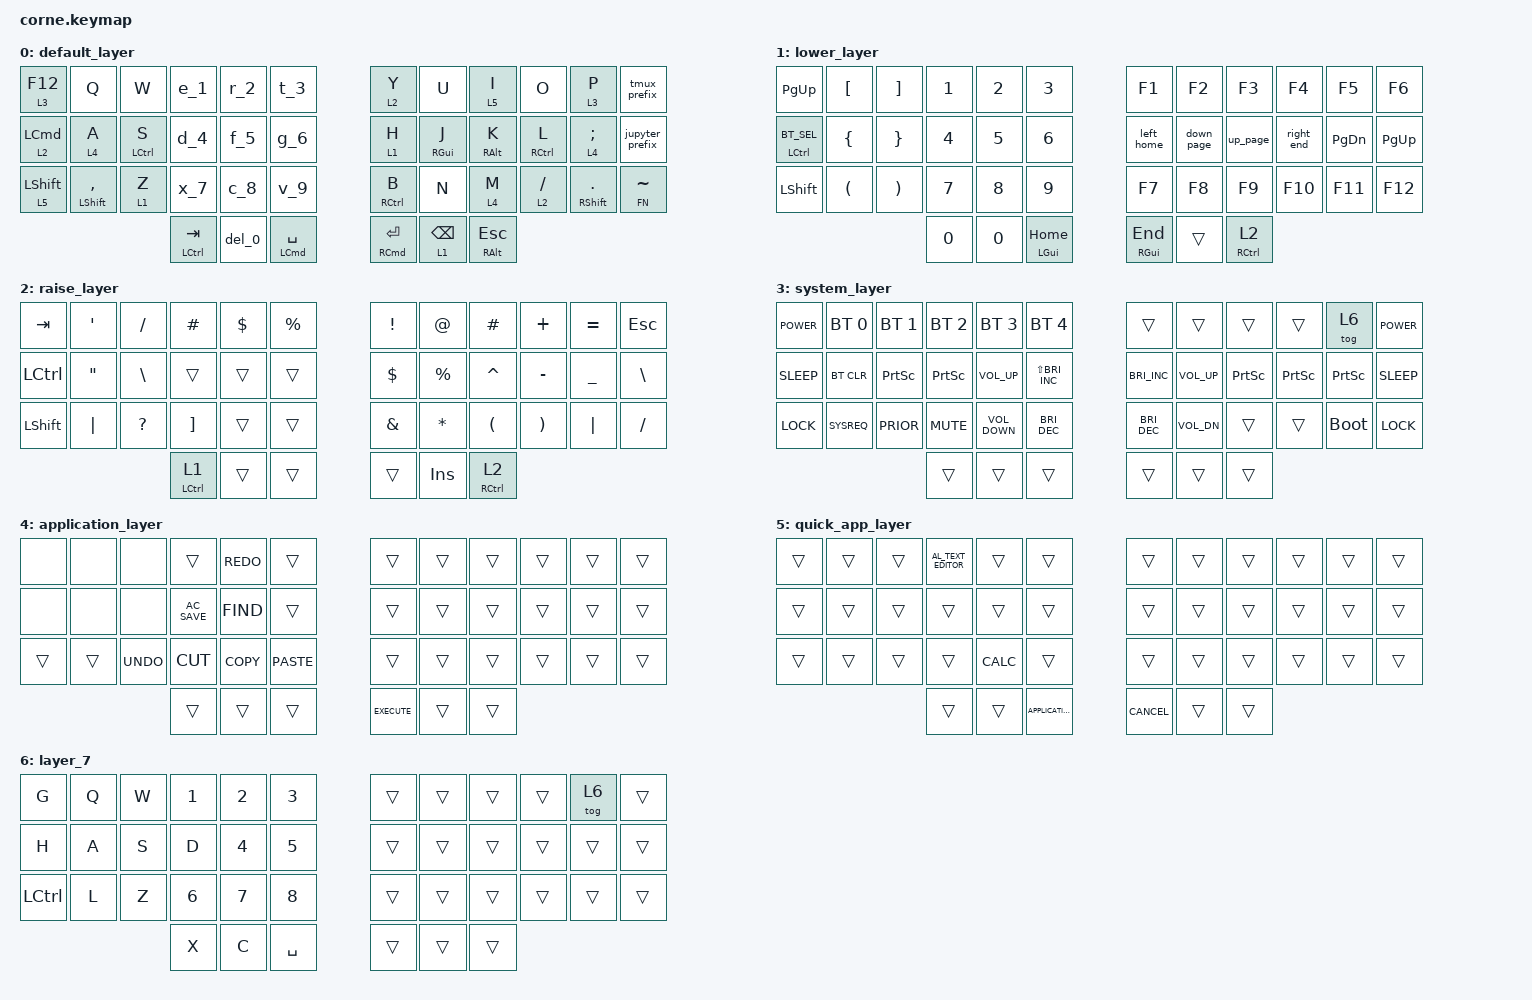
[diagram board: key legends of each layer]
/*
 * Copyright (c) 2020 The ZMK Contributors
 *
 * SPDX-License-Identifier: MIT
 */

#include <behaviors.dtsi>
#include <dt-bindings/zmk/bt.h>
#include <dt-bindings/zmk/keys.h>


// #define K_FN (ZMK_HID_USAGE(HID_USAGE_GD, 151))
#define K_FN (ZMK_HID_USAGE_ID(0x53))
/ {
    behaviors {
        new_behavior: new_behavior {
            compatible = "zmk,behavior-hold-tap";
            label = "NEW_BEHAVIOR";
            bindings = <&kp>, <&to>;

            #binding-cells = <2>;
            tapping-term-ms = <500>;
            quick-tap-ms = <400>;
        };

        hm: homerow_mods {
            compatible = "zmk,behavior-hold-tap";
            label = "HOMEROW_MODS";
            #binding-cells = <2>;
            tapping-term-ms = <200>;
            quick-tap-ms = <300>;
            flavor = "tap-preferred";
            bindings = <&kp>, <&kp>;
        };

        hl: homerow_layers {
            compatible = "zmk,behavior-hold-tap";
            label = "HOMEROW_LAYERS";
            #binding-cells = <2>;
            tapping-term-ms = <200>;
            quick-tap-ms = <300>;
            flavor = "tap-preferred";
            bindings = <&mo>, <&kp>;
        };

        hlt: homerow_layer_key_toggle {
            compatible = "zmk,behavior-hold-tap";
            label = "HOMEROW_LAYER_KTOGGLE";
            #binding-cells = <2>;
            tapping-term-ms = <200>;
            quick-tap-ms = <300>;
            flavor = "tap-preferred";
            bindings = <&mo>, <&kt>;
        };
        tog_mod: tog_mod {
            compatible = "zmk,behavior-hold-tap";
            label = "TOG_MOD";
            bindings = <&kp>, <&tog>;

            #binding-cells = <2>;
            tapping-term-ms = <200>;
            quick-tap-ms = <300>;
        };

        mod_bluetooth: mod_bluetooth {
            compatible = "zmk,behavior-hold-tap";
            label = "MOD_BLUETOOTH";
            bindings = <&kp>, <&bt>;

            #binding-cells = <2>;
            tapping-term-ms = <400>;
            quick-tap-ms = <200>;
        };

        grave_tab: grave_tab {
            compatible = "zmk,behavior-mod-morph";
            label = "GRAVE_TAB";
            bindings = <&kp GRAVE>, <&kp LG(TAB)>;

            #binding-cells = <0>;
            mods = <(MOD_LGUI)>;
        };

        backslash_escape: backslash_escape {
            compatible = "zmk,behavior-mod-morph";
            label = "BACKSLASH_ESCAPE";
            bindings = <&kp BACKSLASH>, <&kp RG(ESCAPE)>;

            #binding-cells = <0>;
            mods = <(MOD_RGUI|MOD_LGUI)>;
        };

        up_page: up_page {
            compatible = "zmk,behavior-mod-morph";
            label = "UP_PAGE";
            bindings = <&kp UP>, <&kp PAGE_UP>;

            #binding-cells = <0>;
            mods = <(MOD_LSFT)>;
            keep-mods = <0>;
        };

        down_page: down_page {
            compatible = "zmk,behavior-mod-morph";
            label = "DOWN_PAGE";
            bindings = <&kp DOWN>, <&kp PAGE_DOWN>;

            #binding-cells = <0>;
            mods = <(MOD_LSFT)>;
        };

        left_home: left_home {
            compatible = "zmk,behavior-mod-morph";
            label = "LEFT_HOME";
            bindings = <&kp LEFT>, <&kp HOME>;

            #binding-cells = <0>;
            mods = <(MOD_LSFT)>;
        };

        right_end: right_end {
            compatible = "zmk,behavior-mod-morph";
            label = "RIGHT_END";
            bindings = <&kp RIGHT>, <&kp END>;

            #binding-cells = <0>;
            mods = <(MOD_LSFT)>;
        };

        e_1: e_1 {
            compatible = "zmk,behavior-mod-morph";
            label = "E_1";
            bindings = <&hl 5 E>, <&kp NUMBER_1>;

            #binding-cells = <0>;
            keep-mods = <(MOD_LGUI)>;
            mods = <(MOD_LGUI)>;
        };

        r_2: r_2 {
            compatible = "zmk,behavior-mod-morph";
            label = "R_2";
            bindings = <&hm LSHFT R>, <&kp NUMBER_2>;

            #binding-cells = <0>;
            mods = <(MOD_LGUI)>;
            keep-mods = <(MOD_LGUI)>;
        };

        t_3: t_3 {
            compatible = "zmk,behavior-mod-morph";
            label = "T_3";
            bindings = <&hl 1 T>, <&kp NUMBER_3>;

            #binding-cells = <0>;
            mods = <(MOD_LGUI)>;
            keep-mods = <(MOD_LGUI)>;
        };

        d_4: d_4 {
            compatible = "zmk,behavior-mod-morph";
            label = "D_4";
            bindings = <&hm LALT D>, <&kp NUMBER_4>;

            #binding-cells = <0>;
            mods = <(MOD_LGUI)>;
            keep-mods = <(MOD_LGUI)>;
        };

        f_5: f_5 {
            compatible = "zmk,behavior-mod-morph";
            label = "F_5";
            bindings = <&hm LEFT_GUI F>, <&kp N5>;

            #binding-cells = <0>;
            mods = <(MOD_LGUI)>;
            keep-mods = <(MOD_LGUI)>;
        };

        g_6: g_6 {
            compatible = "zmk,behavior-mod-morph";
            label = "G_6";
            bindings = <&hl 2 G>, <&kp NUMBER_6>;

            #binding-cells = <0>;
            mods = <(MOD_LGUI)>;
            keep-mods = <(MOD_LGUI)>;
        };

        x_7: x_7 {
            compatible = "zmk,behavior-mod-morph";
            label = "X_7";
            bindings = <&kp X>, <&kp N7>;

            #binding-cells = <0>;
            mods = <(MOD_LGUI)>;
            keep-mods = <(MOD_LGUI)>;
        };

        c_8: c_8 {
            compatible = "zmk,behavior-mod-morph";
            label = "C_8";
            bindings = <&hl 4 C>, <&kp N8>;

            #binding-cells = <0>;
            mods = <(MOD_LGUI)>;
            keep-mods = <(MOD_LGUI)>;
        };

        v_9: v_9 {
            compatible = "zmk,behavior-mod-morph";
            label = "V_9";
            bindings = <&hm RALT V>, <&kp N9>;

            #binding-cells = <0>;
            mods = <(MOD_LGUI)>;
            keep-mods = <(MOD_LGUI)>;
        };

        del_0: del_0 {
            compatible = "zmk,behavior-mod-morph";
            label = "DEL_0";
            bindings = <&hl 2 DELETE>, <&kp N0>;

            #binding-cells = <0>;
            mods = <(MOD_LGUI)>;
            keep-mods = <(MOD_LGUI)>;
        };
    };

    mmv {
        time-to-max-speed-ms = <200>;/* <--- How long time until max speed is reached (default: 500) */
    };

    mt {
        quick-tap-ms = <500>;
        tapping-term-ms = <200>;
    };

    lt {
        quick-tap-ms = <500>;
        tapping-term-ms = <200>;
    };

    combos {
        compatible = "zmk,combos";

        quick_super_tab {
            bindings = <&kp LG(TAB)>;
            key-positions = <38 0>;
        };

        quick_super_escape {
            bindings = <&kp RG(ESCAPE)>;
            key-positions = <39 11>;
        };
    };
macros {
        tmux_prefix: tmux_prefix {
            compatible = "zmk,behavior-macro";
            #binding-cells = <0>;
            bindings = <&macro_press &kp LCTRL>, <&macro_tap &kp B>, <&macro_release &kp LCTRL>;
        };
        jupyter_prefix: jupyter_prefix {
            compatible = "zmk,behavior-macro";
            #binding-cells = <0>;
            bindings = <&macro_press &kp LCTRL> , <&macro_tap &kp M> , <&macro_release &kp LCTRL>;
        };
    };

  keymap {
        compatible = "zmk,keymap";

        default_layer {
            bindings = <
&hl 3 F12        &kp Q          &kp W        &e_1          &r_2    &t_3                      &hl 2 Y                  &kp U            &hl 5 I          &kp O        &hl 3 P           &tmux_prefix
&hlt 2 LEFT_COMMAND        &hl 4 A          &hm LCTRL S  &d_4          &f_5    &g_6                      &hl 1 H                  &hm RGUI J       &hm RALT K       &hm RCTRL L  &hl 4 SEMICOLON   &jupyter_prefix
&hlt 5 LSHIFT  &hm LSHIFT COMMA  &hl 1 Z  &x_7          &c_8    &v_9                      &hm RCTRL B             &kp N          &hl 4 M           &hl 2 SLASH   &hm RSHIFT PERIOD &hm K_FN TILDE 
                                                &hm LCTRL TAB  &del_0  &hm LEFT_COMMAND SPACE    &hm RIGHT_COMMAND ENTER  &hl 1 BACKSPACE  &hm RALT ESCAPE
            >;
        };

        lower_layer {
            bindings = <
&kp PG_UP                    &kp LEFT_BRACKET      &kp RIGHT_BRACKET      &kp N1  &kp NUMBER_2  &kp N3           &kp F1        &kp F2      &kp F3            &kp F4      &kp F5     &kp F6
&mod_bluetooth LCTRL BT_SEL  &kp LEFT_BRACE        &kp RIGHT_BRACE        &kp N4  &kp N5        &kp N6           &left_home    &down_page  &up_page          &right_end  &kp PG_DN  &kp PG_UP
&kp LSHIFT                   &kp LEFT_PARENTHESIS  &kp RIGHT_PARENTHESIS  &kp N7  &kp N8        &kp N9           &kp F7        &kp F8      &kp F9            &kp F10     &kp F11    &kp F12
                                                                          &kp N0  &kp N0        &hm LGUI HOME    &hm RGUI END  &trans      &tog_mod RCTRL 2
            >;
        };

        raise_layer {
            bindings = <
&kp TAB    &kp SINGLE_QUOTE  &kp SLASH            &kp HASH           &kp DLLR  &kp PRCNT    &kp EXCLAMATION  &kp AT_SIGN   &kp HASH              &kp PLUS               &kp EQUAL       &kp ESCAPE
&kp LCTRL  &kp DOUBLE_QUOTES    &kp BACKSLASH            &trans             &trans    &trans       &kp DOLLAR       &kp PERCENT   &kp CARET             &kp MINUS              &kp UNDERSCORE  &kp BACKSLASH
&kp LSHFT  &kp PIPE    &kp QUESTION  &kp RIGHT_BRACKET  &trans    &trans       &kp AMPERSAND    &kp ASTERISK  &kp LEFT_PARENTHESIS  &kp RIGHT_PARENTHESIS  &kp PIPE        &kp SLASH
                                       &tog_mod LCTRL 1   &trans    &trans       &trans           &kp INSERT    &tog_mod RCTRL 2
            >;
        };

        system_layer {
            bindings = <
&kp K_POWER  &bt BT_SEL 0  &bt BT_SEL 1     &bt BT_SEL 2  &bt BT_SEL 3       &bt BT_SEL 4                &trans                &trans        &trans     &trans           &tog 6           &kp K_POWER
&kp K_SLEEP  &bt BT_CLR    &kp PRINTSCREEN  &kp PSCRN     &kp K_VOL_UP       &kp LS(C_BRIGHTNESS_INC)    &kp C_BRIGHTNESS_INC  &kp K_VOL_UP  &kp PSCRN  &kp PRINTSCREEN  &kp PRINTSCREEN  &kp K_SLEEP
&kp K_LOCK   &kp SYSREQ    &kp PRIOR        &kp K_MUTE    &kp K_VOLUME_DOWN  &kp C_BRIGHTNESS_DEC        &kp C_BRIGHTNESS_DEC  &kp K_VOL_DN  &trans     &trans           &bootloader      &kp K_LOCK
                                            &trans        &trans             &trans                      &trans                &trans        &trans
            >;
        };

        application_layer {
            bindings = <
&none   &none   &none       &trans         &kp K_REDO  &trans         &trans         &trans  &trans  &trans  &trans  &trans
&none   &none   &none       &kp C_AC_SAVE  &kp K_FIND  &trans         &trans         &trans  &trans  &trans  &trans  &trans
&trans  &trans  &kp K_UNDO  &kp K_CUT      &kp K_COPY  &kp K_PASTE    &trans         &trans  &trans  &trans  &trans  &trans
                            &trans         &trans      &trans         &kp K_EXECUTE  &trans  &trans
            >;
        };

        quick_app_layer {
            bindings = <
&trans  &trans  &trans  &kp C_AL_TEXT_EDITOR  &trans      &trans               &trans        &trans  &trans  &trans  &trans  &trans
&trans  &trans  &trans  &trans                &trans      &trans               &trans        &trans  &trans  &trans  &trans  &trans
&trans  &trans  &trans  &trans                &kp K_CALC  &trans               &trans        &trans  &trans  &trans  &trans  &trans
                        &trans                &trans      &kp K_APPLICATION    &kp K_CANCEL  &trans  &trans
            >;
        };

        layer_7 {
            bindings = <
&kp G      &kp Q  &kp W  &kp NUMBER_1  &kp NUMBER_2  &kp NUMBER_3    &trans  &trans  &trans  &trans  &tog 6  &trans
&kp H      &kp A  &kp S  &kp D         &kp NUMBER_4  &kp NUMBER_5    &trans  &trans  &trans  &trans  &trans  &trans
&kp LCTRL  &kp L  &kp Z  &kp NUMBER_6  &kp NUMBER_7  &kp NUMBER_8    &trans  &trans  &trans  &trans  &trans  &trans
                         &kp X         &kp C         &kp SPACE       &trans  &trans  &trans
            >;
        };
    };
};
